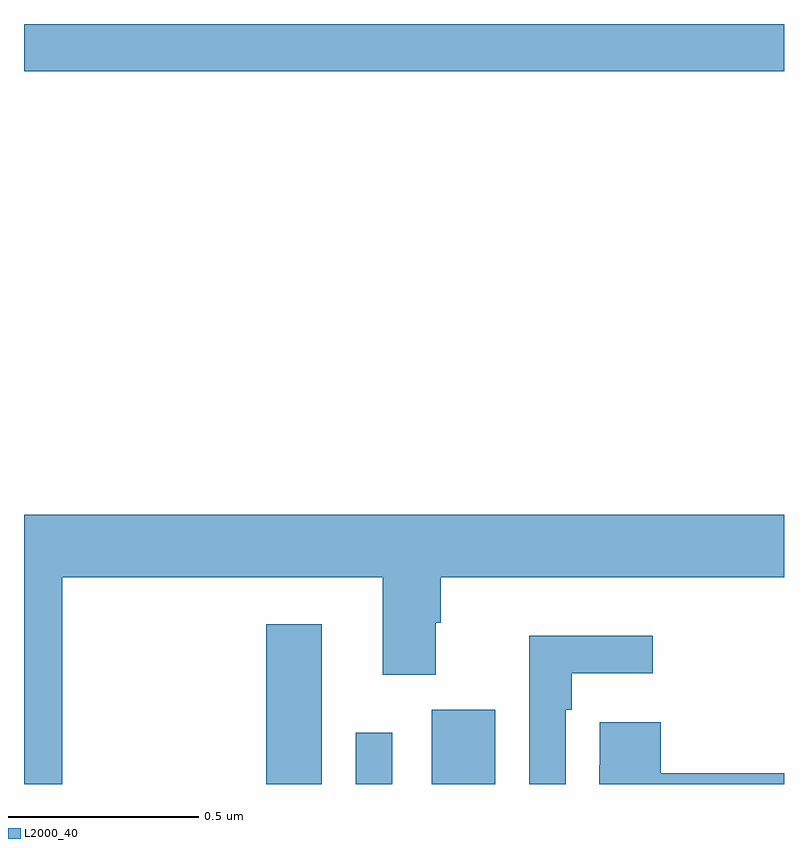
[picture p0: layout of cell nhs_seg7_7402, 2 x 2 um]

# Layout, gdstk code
import gdstk
lib = gdstk.Library(unit=1e-6, precision=1e-09)
def R(c, l, rs):  # rectangles x0, y0, x1, y1
    for r in rs: c.add(gdstk.rectangle(r[:2], r[2:], *l))
def P(c, l, *ps):  # polygons
    for p in ps: c.add(gdstk.Polygon(p, *l))
L2000_40 = (2000, 40)

nhs_seg7_7402 = lib.new_cell('nhs_seg7_7402')
R(nhs_seg7_7402, L2000_40, [(210.638,1072,210.784,1072.42), (210.873,1072,210.969,1072.135), (211.073,1072,211.24,1072.195), (210,1073.876,212,1074)])
P(nhs_seg7_7402, L2000_40, [(210,1072),(210.1,1072),(210.1,1072.544),(210.944,1072.544),(210.944,1072.287),(211.084,1072.287),(211.084,1072.424),(211.097,1072.424),(211.097,1072.544),(212,1072.544),(212,1072.708),(210,1072.708)],
  [(211.425,1072.196),(211.441,1072.196),(211.441,1072.292),(211.654,1072.292),(211.654,1072.39),(211.329,1072.39),(211.329,1072),(211.425,1072)],
  [(212,1072.028),(211.676,1072.028),(211.676,1072.162),(211.515,1072.162),(211.515,1072.049),(211.514,1072.049),(211.514,1072),(212,1072)])

lib.write_gds('nhs_seg7_7402.gds')
